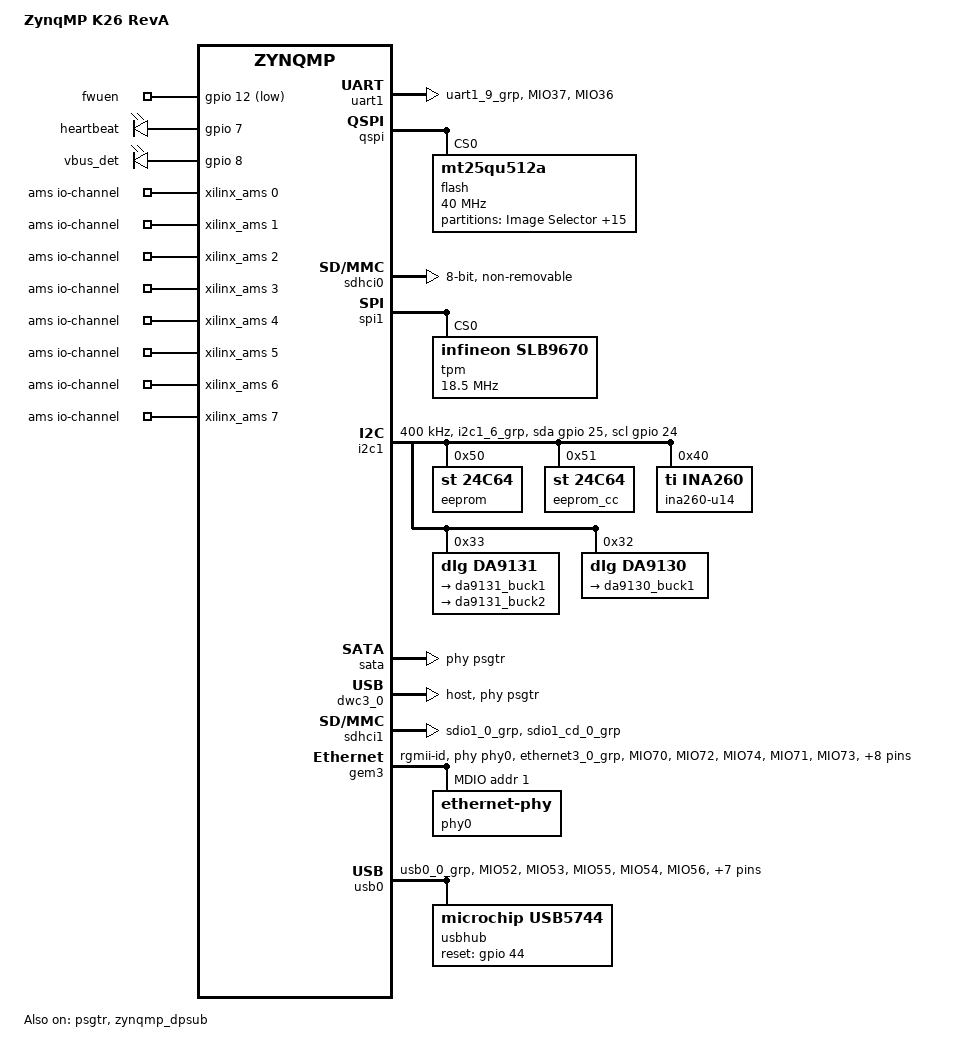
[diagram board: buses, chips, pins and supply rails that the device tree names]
// SPDX-License-Identifier: GPL-2.0
/*
 * dts file for Xilinx ZynqMP K26 revA
 *
 * (C) Copyright 2020-2022 Xilinx, Inc.
 * (C) Copyright 2022 Advanced Micro Devices, Inc. All Rights Reserved.
 *
 * Michal Simek <michal.simek@xilinx.com>
 */

#include "include/dt-bindings/input/input.h"
#include "include/dt-bindings/gpio/gpio.h"
#include "include/dt-bindings/phy/phy.h"
#include "include/dt-bindings/pinctrl/pinctrl-zynqmp.h"

/ {
	model = "ZynqMP K26 RevA";
	compatible = "xlnx,zynqmp-sm-k26-revA", "xlnx,zynqmp-sm-k26", "xlnx,zynqmp";

	aliases {
		gpio0 = &gpio;
		i2c0 = &i2c0;
		i2c1 = &i2c1;
		mmc0 = &sdhci0;
		mmc1 = &sdhci1;
		rtc0 = &rtc;
		serial0 = &uart0;
		serial1 = &uart1;
		serial2 = &dcc;
		spi0 = &qspi;
		spi1 = &spi0;
		spi2 = &spi1;
		usb0 = &usb0;
		usb1 = &usb1;
		nvmem0 = &eeprom;
		nvmem1 = &eeprom_cc;
	};

	chosen {
		bootargs = "earlycon";
		stdout-path = "serial1:115200n8";
	};

	gpio-keys {
		compatible = "gpio-keys";
		autorepeat;
		fwuen {
			label = "fwuen";
			gpios = <&gpio 12 GPIO_ACTIVE_LOW>;
		};
	};

	leds {
		compatible = "gpio-leds";
		ds35 {
			label = "heartbeat";
			gpios = <&gpio 7 GPIO_ACTIVE_HIGH>;
			linux,default-trigger = "heartbeat";
		};

		ds36 {
			label = "vbus_det";
			gpios = <&gpio 8 GPIO_ACTIVE_HIGH>;
			default-state = "on";
		};
	};

	ams {
		compatible = "iio-hwmon";
		io-channels = <&xilinx_ams 0>, <&xilinx_ams 1>, <&xilinx_ams 2>,
			<&xilinx_ams 3>, <&xilinx_ams 4>, <&xilinx_ams 5>,
			<&xilinx_ams 6>, <&xilinx_ams 7>, <&xilinx_ams 8>,
			<&xilinx_ams 9>, <&xilinx_ams 10>, <&xilinx_ams 11>,
			<&xilinx_ams 12>, <&xilinx_ams 13>, <&xilinx_ams 14>,
			<&xilinx_ams 15>, <&xilinx_ams 16>, <&xilinx_ams 17>,
			<&xilinx_ams 18>, <&xilinx_ams 19>, <&xilinx_ams 20>,
			<&xilinx_ams 21>, <&xilinx_ams 22>, <&xilinx_ams 23>,
			<&xilinx_ams 24>, <&xilinx_ams 25>, <&xilinx_ams 26>,
			<&xilinx_ams 27>, <&xilinx_ams 28>, <&xilinx_ams 29>;
	};

	si5332_0: si5332_0 { /* u17 */
		compatible = "fixed-clock";
		#clock-cells = <0>;
		clock-frequency = <125000000>;
	};

	si5332_1: si5332_1 { /* u17 */
		compatible = "fixed-clock";
		#clock-cells = <0>;
		clock-frequency = <25000000>;
	};

	si5332_2: si5332_2 { /* u17 */
		compatible = "fixed-clock";
		#clock-cells = <0>;
		clock-frequency = <48000000>;
	};

	si5332_3: si5332_3 { /* u17 */
		compatible = "fixed-clock";
		#clock-cells = <0>;
		clock-frequency = <24000000>;
	};

	si5332_4: si5332_4 { /* u17 */
		compatible = "fixed-clock";
		#clock-cells = <0>;
		clock-frequency = <26000000>;
	};

	si5332_5: si5332_5 { /* u17 */
		compatible = "fixed-clock";
		#clock-cells = <0>;
		clock-frequency = <27000000>;
	};
};

&psgtr {
	status = "okay";
	/* pcie, usb3, sata */
	clocks = <&si5332_5>, <&si5332_4>, <&si5332_0>;
	clock-names = "ref0", "ref1", "ref2";
};

&uart1 { /* MIO36/MIO37 */
	status = "okay";
	pinctrl-names = "default";
	pinctrl-0 = <&pinctrl_uart1_default>;
};

&qspi { /* MIO 0-5 - U143 */
	status = "okay";
	flash@0 { /* MT25QU512A */
		compatible = "mt25qu512a", "jedec,spi-nor"; /* 64MB */
		#address-cells = <1>;
		#size-cells = <1>;
		reg = <0>;
		spi-tx-bus-width = <1>;
		spi-rx-bus-width = <4>;
		spi-max-frequency = <40000000>; /* 40MHz */
		partition@0 {
			label = "Image Selector";
			reg = <0x0 0x80000>; /* 512KB */
			read-only;
			lock;
		};
		partition@80000 {
			label = "Image Selector Golden";
			reg = <0x80000 0x80000>; /* 512KB */
			read-only;
			lock;
		};
		partition@100000 {
			label = "Persistent Register";
			reg = <0x100000 0x20000>; /* 128KB */
		};
		partition@120000 {
			label = "Persistent Register Backup";
			reg = <0x120000 0x20000>; /* 128KB */
		};
		partition@140000 {
			label = "Open_1";
			reg = <0x140000 0xC0000>; /* 768KB */
		};
		partition@200000 {
			label = "Image A (FSBL, PMU, ATF, U-Boot)";
			reg = <0x200000 0xD00000>; /* 13MB */
		};
		partition@f00000 {
			label = "ImgSel Image A Catch";
			reg = <0xF00000 0x80000>; /* 512KB */
			read-only;
			lock;
		};
		partition@f80000 {
			label = "Image B (FSBL, PMU, ATF, U-Boot)";
			reg = <0xF80000 0xD00000>; /* 13MB */
		};
		partition@1c80000 {
			label = "ImgSel Image B Catch";
			reg = <0x1C80000 0x80000>; /* 512KB */
			read-only;
			lock;
		};
		partition@1d00000 {
			label = "Open_2";
			reg = <0x1D00000 0x100000>; /* 1MB */
		};
		partition@1e00000 {
			label = "Recovery Image";
			reg = <0x1E00000 0x200000>; /* 2MB */
			read-only;
			lock;
		};
		partition@2000000 {
			label = "Recovery Image Backup";
			reg = <0x2000000 0x200000>; /* 2MB */
			read-only;
			lock;
		};
		partition@2200000 {
			label = "U-Boot storage variables";
			reg = <0x2200000 0x20000>; /* 128KB */
		};
		partition@2220000 {
			label = "U-Boot storage variables backup";
			reg = <0x2220000 0x20000>; /* 128KB */
		};
		partition@2240000 {
			label = "SHA256";
			reg = <0x2240000 0x10000>; /* 256B but 64KB sector */
			read-only;
			lock;
		};
		partition@2250000 {
			label = "User";
			reg = <0x2250000 0x1db0000>; /* 29.5 MB */

		};
	};
};

&sdhci0 { /* MIO13-23 - 16GB emmc MTFC16GAPALBH-IT - U133A*/
	status = "okay";
	non-removable;
	disable-wp;
	bus-width = <8>;
	xlnx,mio-bank = <0>;
};

&spi1 { /* MIO6, 9-11 */
	status = "okay";
	label = "TPM";
	num-cs = <1>;
	tpm@0 { /* slm9670 - U144 */
		compatible = "infineon,slb9670", "tcg,tpm_tis-spi";
		reg = <0>;
		spi-max-frequency = <18500000>;
	};
};

&i2c1 {
	status = "okay";
	clock-frequency = <400000>;
	pinctrl-names = "default", "gpio";
	pinctrl-0 = <&pinctrl_i2c1_default>;
	pinctrl-1 = <&pinctrl_i2c1_gpio>;
	scl-gpios = <&gpio 24 GPIO_ACTIVE_HIGH>;
	sda-gpios = <&gpio 25 GPIO_ACTIVE_HIGH>;

	eeprom: eeprom@50 { /* u46 - also at address 0x58 */
		compatible = "st,24c64", "atmel,24c64"; /* st m24c64 */
		reg = <0x50>;
		/* WP pin EE_WP_EN connected to slg7x644092@68 */
	};

	eeprom_cc: eeprom@51 { /* required by spec - also at address 0x59 */
		compatible = "st,24c64", "atmel,24c64"; /* st m24c64 */
		reg = <0x51>;
	};

	u14: ina260@40 { /* u14 */
		compatible = "ti,ina260";
		#io-channel-cells = <1>;
		label = "ina260-u14";
		reg = <0x40>;
	};
	/* u27 - 0xe0 - STDP4320 DP/HDMI splitter */

	/* da9062@30 - u170 - also at address 0x31 */
	/* da9131@33 - u167 */
	da9131: pmic@33 {
		compatible = "dlg,da9131";
		reg = <0x33>;
		regulators {
			da9131_buck1: buck1 {
				regulator-name = "da9131_buck1";
				regulator-boot-on;
			};
			da9131_buck2: buck2 {
				regulator-name = "da9131_buck2";
				regulator-boot-on;
			};
		};
	};

	/* da9130@32 - u166 */
	da9130: pmic@32 {
		compatible = "dlg,da9130";
		reg = <0x32>;
		regulators {
			da9130_buck1: buck1 {
				regulator-name = "da9130_buck1";
				regulator-boot-on;
			};
		};
	};

	/* slg7x644091@70 - u168 NOT accessible due to address conflict with stdp4320 */
	/*
	 * stdp4320 - u27 FW has below two issues.
	 * Device acknowledging to addresses 0x5C, 0x5D, 0x70, 0x72, 0x76.
	 * Address conflict with slg7x644091@70 making both the devices NOT accessible.
	 * With the FW fix, stdp4320 should respond to address 0x73 only.
	 */
	/* slg7x644092@68 - u169 */
	/* Also connected via JA1C as C23/C24 */
};

&gpio {
	status = "okay";
	gpio-line-names = "QSPI_CLK", "QSPI_DQ1", "QSPI_DQ2", "QSPI_DQ3", "QSPI_DQ0", /* 0 - 4 */
			  "QSPI_CS_B", "SPI_CLK", "LED1", "LED2", "SPI_CS_B", /* 5 - 9 */
			  "SPI_MISO", "SPI_MOSI", "FWUEN", "EMMC_DAT0", "EMMC_DAT1", /* 10 - 14 */
			  "EMMC_DAT2", "EMMC_DAT3", "EMMC_DAT4", "EMMC_DAT5", "EMMC_DAT6", /* 15 - 19 */
			  "EMMC_DAT7", "EMMC_CMD", "EMMC_CLK", "EMMC_RST", "I2C1_SCL", /* 20 - 24 */
			  "I2C1_SDA", "", "", "", "", /* 25 - 29 */
			  "", "", "", "", "", /* 30 - 34 */
			  "", "", "", "", "", /* 35 - 39 */
			  "", "", "", "", "", /* 40 - 44 */
			  "", "", "", "", "", /* 45 - 49 */
			  "", "", "", "", "", /* 50 - 54 */
			  "", "", "", "", "", /* 55 - 59 */
			  "", "", "", "", "", /* 60 - 64 */
			  "", "", "", "", "", /* 65 - 69 */
			  "", "", "", "", "", /* 70 - 74 */
			  "", "", "", /* 75 - 77, MIO end and EMIO start */
			  "", "", /* 78 - 79 */
			  "", "", "", "", "", /* 80 - 84 */
			  "", "", "", "", "", /* 85 - 89 */
			  "", "", "", "", "", /* 90 - 94 */
			  "", "", "", "", "", /* 95 - 99 */
			  "", "", "", "", "", /* 100 - 104 */
			  "", "", "", "", "", /* 105 - 109 */
			  "", "", "", "", "", /* 110 - 114 */
			  "", "", "", "", "", /* 115 - 119 */
			  "", "", "", "", "", /* 120 - 124 */
			  "", "", "", "", "", /* 125 - 129 */
			  "", "", "", "", "", /* 130 - 134 */
			  "", "", "", "", "", /* 135 - 139 */
			  "", "", "", "", "", /* 140 - 144 */
			  "", "", "", "", "", /* 145 - 149 */
			  "", "", "", "", "", /* 150 - 154 */
			  "", "", "", "", "", /* 155 - 159 */
			  "", "", "", "", "", /* 160 - 164 */
			  "", "", "", "", "", /* 165 - 169 */
			  "", "", "", ""; /* 170 - 174 */
};

&sata {
	status = "okay";
	/* SATA OOB timing settings */
	ceva,p0-cominit-params = /bits/ 8 <0x18 0x40 0x18 0x28>;
	ceva,p0-comwake-params = /bits/ 8 <0x06 0x14 0x08 0x0E>;
	ceva,p0-burst-params = /bits/ 8 <0x13 0x08 0x4A 0x06>;
	ceva,p0-retry-params = /bits/ 16 <0x96A4 0x3FFC>;
	ceva,p1-cominit-params = /bits/ 8 <0x18 0x40 0x18 0x28>;
	ceva,p1-comwake-params = /bits/ 8 <0x06 0x14 0x08 0x0E>;
	ceva,p1-burst-params = /bits/ 8 <0x13 0x08 0x4A 0x06>;
	ceva,p1-retry-params = /bits/ 16 <0x96A4 0x3FFC>;
	phy-names = "sata-phy";
	phys = <&psgtr 3 PHY_TYPE_SATA 1 2>;
};

&zynqmp_dpsub {
	status = "okay";
	phy-names = "dp-phy0", "dp-phy1";
	phys = <&psgtr 1 PHY_TYPE_DP 0 0>, <&psgtr 0 PHY_TYPE_DP 1 0>;
};

&dwc3_0 {
	status = "okay";
	dr_mode = "host";
	snps,usb3_lpm_capable;
	phy-names = "usb3-phy";
	phys = <&psgtr 2 PHY_TYPE_USB3 0 1>;
	maximum-speed = "super-speed";
};

&sdhci1 {
	status = "okay";
	pinctrl-names = "default";
	pinctrl-0 = <&pinctrl_sdhci1_default>;

	/*
	 * SD 3.0 requires level shifter and this property
	 * should be removed if the board has level shifter and
	 * need to work in UHS mode
	 */
	no-1-8-v;
	disable-wp;
	xlnx,mio-bank = <1>;
};

&pinctrl0 {
	status = "okay";
	pinctrl_uart1_default: uart1-default {
		mux {
			groups = "uart1_9_grp";
			function = "uart1";
		};

		conf {
			groups = "uart1_9_grp";
			slew-rate = <SLEW_RATE_SLOW>;
			io-standard = <IO_STANDARD_LVCMOS18>;
			drive-strength = <12>;
		};

		conf-rx {
			pins = "MIO37";
			bias-high-impedance;
		};

		conf-tx {
			pins = "MIO36";
			bias-disable;
		};
	};

	pinctrl_i2c1_default: i2c1-default {
		mux {
			groups = "i2c1_6_grp";
			function = "i2c1";
		};

		conf {
			groups = "i2c1_6_grp";
			bias-pull-up;
			slew-rate = <SLEW_RATE_SLOW>;
			io-standard = <IO_STANDARD_LVCMOS18>;
		};
	};

	pinctrl_i2c1_gpio: i2c1-gpio {
		mux {
			groups = "gpio0_24_grp", "gpio0_25_grp";
			function = "gpio0";
		};

		conf {
			groups = "gpio0_24_grp", "gpio0_25_grp";
			slew-rate = <SLEW_RATE_SLOW>;
			io-standard = <IO_STANDARD_LVCMOS18>;
		};
	};

	pinctrl_gem3_default: gem3-default {
		mux {
			function = "ethernet3";
			groups = "ethernet3_0_grp";
		};

		conf {
			groups = "ethernet3_0_grp";
			slew-rate = <SLEW_RATE_SLOW>;
			io-standard = <IO_STANDARD_LVCMOS18>;
		};

		conf-rx {
			pins = "MIO70", "MIO72", "MIO74";
			bias-high-impedance;
			low-power-disable;
		};

		conf-bootstrap {
			pins = "MIO71", "MIO73", "MIO75";
			bias-disable;
			low-power-disable;
		};

		conf-tx {
			pins = "MIO64", "MIO65", "MIO66",
			       "MIO67", "MIO68", "MIO69";
			bias-disable;
			low-power-enable;
		};

		mux-mdio {
			function = "mdio3";
			groups = "mdio3_0_grp";
		};

		conf-mdio {
			groups = "mdio3_0_grp";
			slew-rate = <SLEW_RATE_SLOW>;
			io-standard = <IO_STANDARD_LVCMOS18>;
			bias-disable;
		};
	};

	pinctrl_usb0_default: usb0-default {
		mux {
			groups = "usb0_0_grp";
			function = "usb0";
		};

		conf {
			groups = "usb0_0_grp";
			slew-rate = <SLEW_RATE_SLOW>;
			io-standard = <IO_STANDARD_LVCMOS18>;
		};

		conf-rx {
			pins = "MIO52", "MIO53", "MIO55";
			bias-high-impedance;
		};

		conf-tx {
			pins = "MIO54", "MIO56", "MIO57", "MIO58", "MIO59",
				"MIO60", "MIO61", "MIO62", "MIO63";
				bias-disable;
		};
	};

	pinctrl_sdhci1_default: sdhci1-default {
		mux {
			groups = "sdio1_0_grp";
			function = "sdio1";
		};

		conf {
			groups = "sdio1_0_grp";
			slew-rate = <SLEW_RATE_SLOW>;
			io-standard = <IO_STANDARD_LVCMOS18>;
			bias-disable;
		};

		mux-cd {
			groups = "sdio1_cd_0_grp";
			function = "sdio1_cd";
		};

		conf-cd {
			groups = "sdio1_cd_0_grp";
			bias-high-impedance;
			bias-pull-up;
			slew-rate = <SLEW_RATE_SLOW>;
			io-standard = <IO_STANDARD_LVCMOS18>;
		};
	};
};

&gem3 {
	status = "okay";
	phy-handle = <&phy0>;
	phy-mode = "rgmii-id";
	pinctrl-names = "default";
	pinctrl-0 = <&pinctrl_gem3_default>;

	mdio: mdio {
		#address-cells = <1>;
		#size-cells = <0>;
		reset-gpios = <&gpio 38 GPIO_ACTIVE_LOW>;
		reset-delay-us = <2>;

		phy0: ethernet-phy@1 {
			#phy-cells = <1>;
			reg = <1>;
			ti,rx-internal-delay = <0x8>;
			ti,tx-internal-delay = <0x8>;
			ti,fifo-depth = <0x01>;
			ti,dp83867-rxctrl-strap-quirk;
		};
	};
};

&usb0 {
	pinctrl-names = "default";
	pinctrl-0 = <&pinctrl_usb0_default>;
	usbhub: usb5744 {
		compatible = "microchip,usb5744";
		reset-gpios = <&gpio 44 GPIO_ACTIVE_HIGH>;
	};
};
